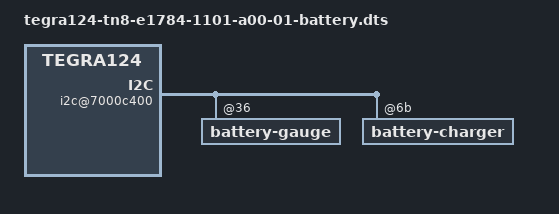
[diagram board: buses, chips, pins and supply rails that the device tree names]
/* E1784 2GB with Max17048 FG */

#include "tegra124-tn8-e1784-1101-a00-01.dts"

/ {
	nvidia,dtsfilename = __FILE__;

	i2c@7000c400 {
		battery-gauge@36 {
			status = "okay";
		};

		battery-charger@6b {
			charger {
				status = "okay";
			};
		};
	};
};

